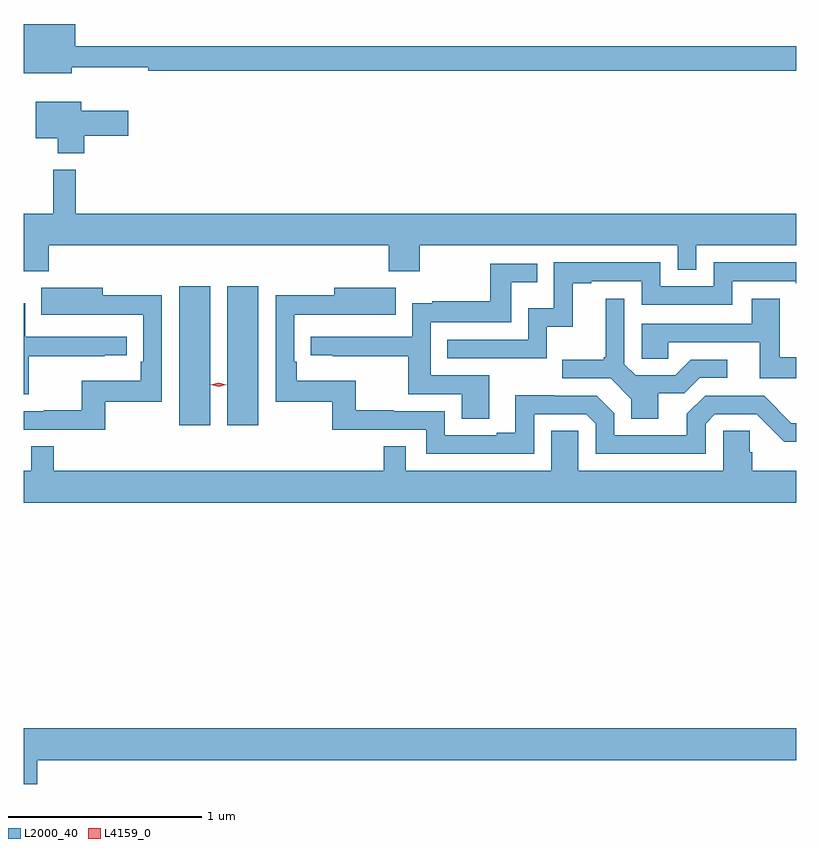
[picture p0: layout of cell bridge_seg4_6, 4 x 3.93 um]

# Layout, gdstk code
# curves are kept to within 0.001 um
import gdstk
lib = gdstk.Library(unit=1e-6, precision=1e-09)
def R(c, l, rs):  # rectangles x0, y0, x1, y1
    for r in rs: c.add(gdstk.rectangle(r[:2], r[2:], *l))
def P(c, l, *ps):  # polygons
    for p in ps: c.add(gdstk.Polygon(p, *l))
L2000_40 = (2000, 40)
L4159_0 = (4159, 0)

bridge_seg4_6 = lib.new_cell('bridge_seg4_6')
R(bridge_seg4_6, L2000_40, [(1131.251,778.572,1131.412,779.293), (1131.5,778.572,1131.661,779.293)])
P(bridge_seg4_6, L2000_40, [(1130.695,780.424),(1131.091,780.424),(1131.091,780.406),(1134.446,780.406),(1134.446,780.535),(1130.714,780.535),(1130.714,780.649),(1130.446,780.649),(1130.446,780.395),(1130.695,780.395)],
  [(1130.759,780.07),(1130.989,780.07),(1130.989,780.199),(1130.746,780.199),(1130.746,780.247),(1130.51,780.247),(1130.51,780.059),(1130.624,780.059),(1130.624,779.981),(1130.759,779.981)],
  [(1130.576,779.504),(1132.337,779.504),(1132.337,779.369),(1132.497,779.369),(1132.497,779.504),(1133.832,779.504),(1133.832,779.377),(1133.928,779.377),(1133.928,779.504),(1134.446,779.504),(1134.446,779.668),(1130.717,779.668),(1130.717,779.896),(1130.6,779.896),(1130.6,779.668),(1130.446,779.668),(1130.446,779.369),(1130.576,779.369)],
  [(1133.154,779.081),(1133.287,779.081),(1133.287,779.307),(1133.383,779.307),(1133.383,779.319),(1133.646,779.319),(1133.646,779.196),(1134.114,779.196),(1134.114,779.319),(1134.443,779.319),(1134.443,779.307),(1134.446,779.307),(1134.446,779.415),(1134.018,779.415),(1134.018,779.292),(1133.742,779.292),(1133.742,779.415),(1133.19,779.415),(1133.19,779.179),(1133.058,779.179),(1133.058,779.016),(1132.639,779.016),(1132.639,778.92),(1133.154,778.92)],
  [(1132.855,778.83),(1132.554,778.83),(1132.554,779.106),(1132.971,779.106),(1132.971,779.312),(1133.105,779.312),(1133.105,779.409),(1132.86,779.409),(1132.86,779.215),(1132.561,779.215),(1132.561,779.203),(1132.458,779.203),(1132.458,779.031),(1131.933,779.031),(1131.933,778.935),(1132.045,778.935),(1132.045,778.93),(1132.438,778.93),(1132.438,778.734),(1132.715,778.734),(1132.715,778.606),(1132.855,778.606)],
  [(1133.088,778.629),(1133.358,778.629),(1133.406,778.581),(1133.406,778.425),(1133.976,778.425),(1133.976,778.581),(1134.024,778.629),(1134.24,778.629),(1134.382,778.487),(1134.446,778.487),(1134.446,778.584),(1134.42,778.584),(1134.279,778.725),(1133.973,778.725),(1133.879,778.631),(1133.879,778.521),(1133.502,778.521),(1133.502,778.635),(1133.412,778.725),(1133.196,778.725),(1133.196,778.727),(1132.991,778.727),(1132.991,778.534),(1132.895,778.534),(1132.895,778.521),(1132.626,778.521),(1132.626,778.644),(1132.361,778.644),(1132.361,778.649),(1132.165,778.649),(1132.165,778.804),(1131.86,778.804),(1131.86,778.9),(1131.846,778.9),(1131.846,779.145),(1132.373,779.144),(1132.373,779.284),(1132.055,779.284),(1132.055,779.246),(1131.75,779.246),(1131.75,778.695),(1132.044,778.695),(1132.044,778.548),(1132.53,778.548),(1132.53,778.425),(1133.088,778.425)],
  [(1130.869,778.695),(1131.162,778.695),(1131.162,779.246),(1130.857,779.246),(1130.857,779.284),(1130.539,779.284),(1130.539,779.144),(1130.753,779.144),(1130.753,779.145),(1131.066,779.145),(1131.066,778.9),(1131.053,778.9),(1131.053,778.804),(1130.748,778.804),(1130.748,778.649),(1130.551,778.649),(1130.551,778.644),(1130.446,778.644),(1130.446,778.548),(1130.869,778.548)],
  [(1134.446,778.924),(1134.359,778.924),(1134.359,779.227),(1134.215,779.227),(1134.215,779.097),(1133.646,779.097),(1133.646,778.917),(1133.783,778.917),(1133.783,779.001),(1134.257,779.001),(1134.257,778.815),(1134.446,778.815)],
  [(1133.731,778.738),(1133.866,778.738),(1133.946,778.818),(1134.088,778.818),(1134.088,778.911),(1133.9,778.911),(1133.819,778.83),(1133.613,778.83),(1133.556,778.887),(1133.556,779.227),(1133.459,779.227),(1133.459,778.924),(1133.448,778.924),(1133.448,778.912),(1133.235,778.912),(1133.235,778.815),(1133.484,778.815),(1133.591,778.708),(1133.591,778.606),(1133.731,778.606)],
  [(1130.474,778.93),(1130.867,778.93),(1130.867,778.935),(1130.98,778.935),(1130.98,779.031),(1130.454,779.031),(1130.454,779.203),(1130.446,779.203),(1130.446,778.734),(1130.474,778.734)],
  [(1134.446,778.336),(1134.218,778.336),(1134.218,778.434),(1134.203,778.434),(1134.203,778.544),(1134.066,778.544),(1134.066,778.336),(1133.316,778.336),(1133.316,778.544),(1133.177,778.544),(1133.177,778.336),(1132.425,778.336),(1132.425,778.463),(1132.309,778.463),(1132.309,778.336),(1130.603,778.336),(1130.603,778.463),(1130.487,778.463),(1130.487,778.336),(1130.446,778.336),(1130.446,778.172),(1134.446,778.172)],
  [(1130.516,776.84),(1134.446,776.84),(1134.446,777.004),(1130.446,777.004),(1130.446,776.716),(1130.516,776.716)])
P(bridge_seg4_6, L4159_0, [(1131.456,778.772),(1131.416,778.782),(1131.416,778.782),(1131.416,778.782),(1131.456,778.792),(1131.496,778.782),(1131.496,778.782),(1131.496,778.782)])

lib.write_gds('bridge_seg4_6.gds')
